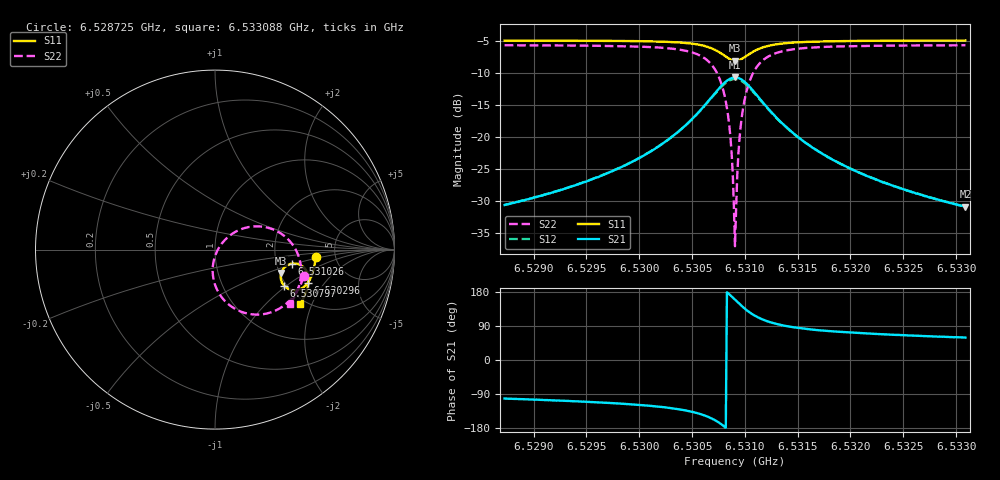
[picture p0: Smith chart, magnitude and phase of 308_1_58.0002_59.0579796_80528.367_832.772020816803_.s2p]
#  HZ  S  RI  R  50.00
! Rohde & Schwarz Vector Network Analyzer
! Rohde-Schwarz,ZNB20-2Port,1311601062101988,3.16
! Created: UTC 3/21/2024, 1:04:04 AM
! freq[Hz]  re:S11  im:S11  re:S21  im:S21  re:S12  im:S12  re:S22  im:S22
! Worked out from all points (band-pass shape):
!   401 points, 6.528725 GHz to 6.533088 GHz, reference 50 ohm
!   highest |S21| = -10.74 dB at 6.530906 GHz (marker M1); lowest = -30.9 dB at 6.533088 GHz (marker M2)
!   |S21| within 3 dB of the highest: 6.530689 GHz to 6.531125 GHz (436.5 kHz wide, 0.00668 % of centre)
!   lowest |S11| = -8.1 dB at 6.530906 GHz (marker M3), VSWR 2.29, Z = 102 - j31.5 ohm
!   |S11| at or under -10 dB: nowhere
!   |S22| runs from -37.0 to -5.7 dB; largest |S21 - S12| = 0.011
!   S11 on the Smith chart (normalised r, x): 6.528725 GHz: 3.50, -0.44; 6.530296 GHz: 2.59, -1.39; 6.530797 GHz: 1.94, -0.96; 6.531026 GHz: 2.43, -0.47; 6.533088 GHz: 1.84, -1.65
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6.5287248e9  0.56 -0.0435  -0.0059 -0.0289  -0.00651 -0.0288  0.4952 -0.1492
6.5294557e9  0.5511 -0.1037  -0.0149 -0.0411  -0.0158 -0.0411  0.4667 -0.2155
6.5301865e9  0.5245 -0.1747  -0.0463 -0.071  -0.0483 -0.0698  0.39 -0.3075
6.5302956e9  0.5156 -0.1874  -0.0586 -0.0788  -0.0609 -0.0771  0.3639 -0.3255
6.5306338e9  0.4535 -0.2258  -0.1538 -0.0962  -0.1562 -0.0901  0.1834 -0.3571
6.5307319e9  0.4144 -0.2213  -0.2148 -0.0727  -0.2143 -0.064  0.0803 -0.3089
6.5307974e9  0.3853 -0.2013  -0.258 -0.0282  -0.2539 -0.0189  0.0133 -0.2271
6.5308519e9  0.3684 -0.17  -0.2795 0.0323  -0.2718 0.0401  -0.0132 -0.123
6.5308738e9  0.3661 -0.1546  -0.2805 0.0608  -0.2715 0.0669  -0.0098 -0.076
6.5308847e9  0.3662 -0.1465  -0.2789 0.0753  -0.2695 0.0807  -0.00483 -0.0525
6.5308956e9  0.3671 -0.1386  -0.2758 0.0898  -0.2661 0.0943  0.00272 -0.0294
6.5309065e9  0.3689 -0.1307  -0.2712 0.1038  -0.2614 0.1075  0.0123 -0.0069
6.5309283e9  0.375 -0.1159  -0.258 0.1303  -0.2481 0.1322  0.0383 0.0345
6.5309392e9  0.3792 -0.1091  -0.2497 0.1423  -0.2401 0.1434  0.054 0.0527
6.530961e9  0.3894 -0.0973  -0.2301 0.1631  -0.2212 0.1627  0.0895 0.0837
6.5309937e9  0.4077 -0.0847  -0.1965 0.1854  -0.1891 0.1835  0.1484 0.1148
6.5310265e9  0.4269 -0.0785  -0.1619 0.1971  -0.156 0.1944  0.2076 0.1284
6.5311028e9  0.4659 -0.0817  -0.0936 0.195  -0.0907 0.1926  0.3221 0.1128
6.5312119e9  0.499 -0.1041  -0.0361 0.1653  -0.0345 0.1638  0.4153 0.0485
6.5316373e9  0.5209 -0.18  0.014 0.0817  0.0149 0.0816  0.48 -0.1283
6.5323682e9  0.5014 -0.2524  0.0167 0.0392  0.0173 0.0391  0.4527 -0.2432
6.5330882e9  0.4739 -0.3055  0.0146 0.0245  0.0151 0.0244  0.4177 -0.3048
